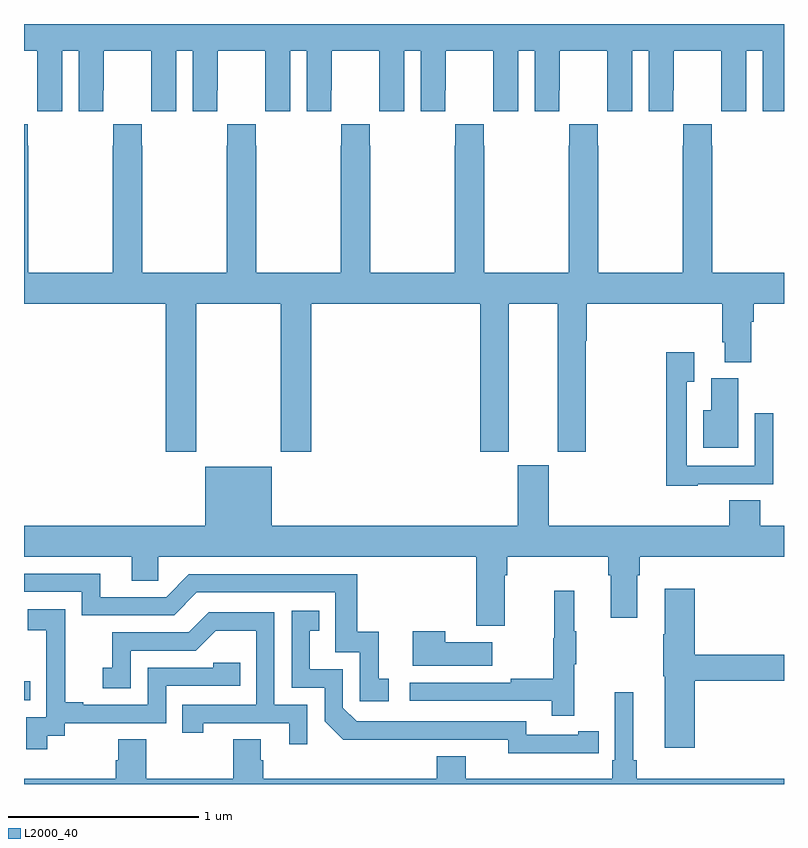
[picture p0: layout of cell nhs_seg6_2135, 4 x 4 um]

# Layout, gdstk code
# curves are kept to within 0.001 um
import gdstk
lib = gdstk.Library(unit=1e-6, precision=1e-09)
def R(c, l, rs):  # rectangles x0, y0, x1, y1
    for r in rs: c.add(gdstk.rectangle(r[:2], r[2:], *l))
def P(c, l, *ps):  # polygons
    for p in ps: c.add(gdstk.Polygon(p, *l))
L2000_40 = (2000, 40)

nhs_seg6_2135 = lib.new_cell('nhs_seg6_2135')
R(nhs_seg6_2135, L2000_40, [(239,919.941,239.033,920.042)])
P(nhs_seg6_2135, L2000_40, [(239.2,923.36),(239.288,923.36),(239.288,923.04),(239.418,923.04),(239.418,923.152),(239.419,923.152),(239.419,923.36),(239.669,923.36),(239.669,923.152),(239.67,923.152),(239.67,923.04),(239.8,923.04),(239.8,923.36),(239.888,923.36),(239.888,923.04),(240.018,923.04),(240.018,923.152),(240.019,923.152),(240.019,923.36),(240.269,923.36),(240.269,923.152),(240.27,923.152),(240.27,923.04),(240.4,923.04),(240.4,923.36),(240.488,923.36),(240.488,923.04),(240.618,923.04),(240.618,923.152),(240.619,923.152),(240.619,923.36),(240.869,923.36),(240.869,923.152),(240.87,923.152),(240.87,923.04),(241,923.04),(241,923.36),(241.088,923.36),(241.088,923.04),(241.218,923.04),(241.218,923.152),(241.219,923.152),(241.219,923.36),(241.469,923.36),(241.469,923.152),(241.47,923.152),(241.47,923.04),(241.6,923.04),(241.6,923.36),(241.688,923.36),(241.688,923.04),(241.818,923.04),(241.818,923.152),(241.819,923.152),(241.819,923.36),(242.069,923.36),(242.069,923.152),(242.07,923.152),(242.07,923.04),(242.2,923.04),(242.2,923.36),(242.288,923.36),(242.288,923.04),(242.418,923.04),(242.418,923.152),(242.419,923.152),(242.419,923.36),(242.669,923.36),(242.669,923.152),(242.67,923.152),(242.67,923.04),(242.8,923.04),(242.8,923.36),(242.888,923.36),(242.888,923.04),(243,923.04),(243,923.5),(239,923.5),(239,923.36),(239.069,923.36),(239.069,923.152),(239.07,923.152),(239.07,923.04),(239.2,923.04)],
  [(241.269,922.972),(241.269,922.859),(241.267,922.859),(241.267,922.192),(240.822,922.192),(240.822,922.859),(240.819,922.859),(240.819,922.972),(240.669,922.972),(240.669,922.859),(240.667,922.859),(240.667,922.192),(240.222,922.192),(240.222,922.859),(240.219,922.859),(240.219,922.972),(240.069,922.972),(240.069,922.859),(240.067,922.859),(240.067,922.192),(239.622,922.192),(239.622,922.859),(239.619,922.859),(239.619,922.972),(239.469,922.972),(239.469,922.859),(239.467,922.859),(239.467,922.192),(239.022,922.192),(239.022,922.859),(239.019,922.859),(239.019,922.972),(239,922.972),(239,922.028),(239.747,922.028),(239.747,921.249),(239.907,921.249),(239.907,922.028),(240.352,922.028),(240.352,921.249),(240.512,921.249),(240.512,922.028),(241.4,922.028),(241.4,921.249),(241.552,921.249),(241.552,922.028),(241.808,922.028),(241.808,921.249),(241.956,921.249),(241.956,921.832),(241.961,921.832),(241.961,922.028),(242.675,922.028),(242.675,921.826),(242.687,921.826),(242.687,921.721),(242.827,921.721),(242.827,921.932),(242.84,921.932),(242.84,922.028),(243,922.028),(243,922.192),(242.622,922.192),(242.622,922.859),(242.619,922.859),(242.619,922.972),(242.469,922.972),(242.469,922.859),(242.467,922.859),(242.467,922.192),(242.022,922.192),(242.022,922.859),(242.019,922.859),(242.019,922.972),(241.869,922.972),(241.869,922.859),(241.867,922.859),(241.867,922.192),(241.422,922.192),(241.422,922.859),(241.419,922.859),(241.419,922.972)],
  [(242.547,921.078),(242.943,921.078),(242.943,921.451),(242.847,921.451),(242.847,921.174),(242.487,921.174),(242.487,921.616),(242.527,921.616),(242.527,921.772),(242.379,921.772),(242.379,921.071),(242.547,921.071)],
  [(242.758,921.636),(242.618,921.636),(242.618,921.466),(242.576,921.466),(242.576,921.269),(242.758,921.269)],
  [(241.531,920.6),(241.544,920.6),(241.544,920.696),(242.075,920.696),(242.075,920.6),(242.087,920.6),(242.087,920.376),(242.227,920.376),(242.227,920.6),(242.24,920.6),(242.24,920.696),(243,920.696),(243,920.86),(242.876,920.86),(242.876,920.993),(242.711,920.993),(242.711,920.86),(241.762,920.86),(241.762,921.177),(241.598,921.177),(241.598,920.86),(240.304,920.86),(240.304,921.169),(239.954,921.169),(239.954,920.86),(239,920.86),(239,920.696),(239.567,920.696),(239.567,920.569),(239.706,920.569),(239.706,920.696),(241.379,920.696),(241.379,920.334),(241.531,920.334)],
  [(240.919,920.055),(240.866,920.055),(240.866,920.302),(240.755,920.302),(240.755,920.604),(239.868,920.604),(239.748,920.484),(239.401,920.484),(239.401,920.607),(239,920.607),(239,920.511),(239.304,920.511),(239.304,920.388),(239.79,920.388),(239.91,920.508),(240.639,920.508),(240.639,920.193),(240.768,920.193),(240.768,919.935),(240.919,919.935)],
  [(242.531,920.044),(243,920.044),(243,920.18),(242.531,920.18),(242.531,920.527),(242.372,920.527),(242.372,920.288),(242.365,920.288),(242.365,920.067),(242.372,920.067),(242.372,919.692),(242.531,919.692)],
  [(241.895,920.131),(241.906,920.131),(241.906,920.305),(241.895,920.305),(241.895,920.518),(241.792,920.518),(241.792,920.268),(241.785,920.268),(241.785,920.054),(241.561,920.054),(241.561,920.034),(241.029,920.034),(241.029,919.938),(241.777,919.938),(241.777,919.86),(241.895,919.86)],
  [(239.122,919.753),(239.214,919.753),(239.214,919.821),(239.748,919.821),(239.748,920.016),(240.137,920.016),(240.137,920.139),(239.997,920.139),(239.997,920.112),(239.652,920.112),(239.652,919.917),(239.311,919.917),(239.311,919.93),(239.216,919.93),(239.216,920.213),(239.217,920.213),(239.217,920.419),(239.019,920.419),(239.019,920.309),(239.117,920.309),(239.117,920.081),(239.118,920.081),(239.118,919.851),(239.013,919.851),(239.013,919.683),(239.122,919.683)],
  [(241.916,919.662),(242.024,919.662),(242.024,919.778),(241.916,919.778),(241.916,919.758),(241.644,919.758),(241.644,919.83),(240.75,919.83),(240.678,919.902),(240.678,920.103),(240.505,920.103),(240.505,920.307),(240.554,920.307),(240.554,920.413),(240.408,920.413),(240.408,920.007),(240.582,920.007),(240.582,919.83),(240.68,919.733),(241.548,919.734),(241.548,919.661)],
  [(240.492,919.917),(240.318,919.917),(240.318,920.403),(239.972,920.403),(239.867,920.298),(239.464,920.298),(239.464,920.113),(239.415,920.113),(239.415,920.004),(239.562,920.004),(239.562,920.202),(239.904,920.202),(240.008,920.306),(240.222,920.306),(240.222,919.917),(239.833,919.917),(239.833,919.77),(239.944,919.77),(239.944,919.821),(240.395,919.821),(240.395,919.71),(240.492,919.71)],
  [(241.465,920.245),(241.217,920.245),(241.217,920.305),(241.046,920.305),(241.046,920.123),(241.465,920.123)],
  [(243,919.528),(242.225,919.528),(242.225,919.624),(242.206,919.624),(242.206,919.984),(242.109,919.984),(242.109,919.624),(242.096,919.624),(242.096,919.528),(241.324,919.528),(241.324,919.645),(241.172,919.645),(241.172,919.528),(240.26,919.528),(240.26,919.626),(240.247,919.626),(240.247,919.736),(240.1,919.736),(240.1,919.528),(239.643,919.528),(239.643,919.736),(239.495,919.736),(239.495,919.626),(239.483,919.626),(239.483,919.528),(239,919.528),(239,919.5),(243,919.5)])

lib.write_gds('nhs_seg6_2135.gds')
